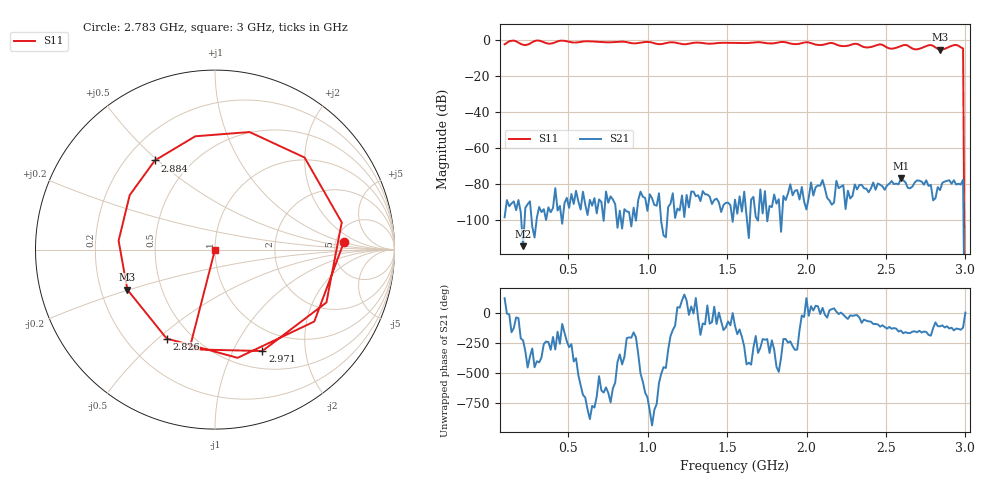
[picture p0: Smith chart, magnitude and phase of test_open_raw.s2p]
! NanoVNA V2 raw (uncalibrated) {"variant": 2, "protocol": 1, "hw_rev": 4, "fw": "1.2"} fw 1.2 2026-11-03 12:33 avg=2 repeat=1 port1 as-is, driver test
# Hz S RI R 50
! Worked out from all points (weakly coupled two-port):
!   201 points, 100 MHz to 3 GHz, reference 50 ohm
!   highest |S21| = -77.09 dB at 2.594 GHz (marker M1); lowest = -114.8 dB at 216 MHz (marker M2)
!   lowest |S11| = -5.4 dB at 2.841 GHz (marker M3), VSWR 3.32, Z = 15.7 - j9.89 ohm
!   |S11| at or under -10 dB: 2.985884 GHz to end of sweep
!   S12 and S22 are empty: the file has one direction only
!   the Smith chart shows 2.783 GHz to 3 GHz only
!   S11 on the Smith chart (normalised r, x): 2.783 GHz: 5.94, +0.97; 2.826 GHz: 0.37, -0.53; 2.884 GHz: 0.32, +0.49; 2.971 GHz: 0.71, -1.31; 3 GHz: 1.00, +0.00
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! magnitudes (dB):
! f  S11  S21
! 100 MHz  -2.5  -98.8
! 158 MHz  -0.4  -89.9
! 216 MHz  -2.7  -114.8
! 303 MHz  -0.3  -98.9
! 593 MHz  -0.9  -84.5
! 1.071 GHz  -2.4  -85.4
! 1.55 GHz  -1.7  -88.9
! 2.043 GHz  -2.3  -86.6
! 2.101 GHz  -2.8  -78.0
! 2.463 GHz  -2.5  -80.6
! 2.522 GHz  -4.8  -80.0
! 2.579 GHz  -3.9  -80.4
! 2.594 GHz  -3.4  -77.1
! 2.638 GHz  -3.2  -82.3
! 2.696 GHz  -5.2  -78.2
! 2.783 GHz  -2.9  -80.7
! 2.826 GHz  -5.0  -82.0
! 2.841 GHz  -5.4  -83.6
! 2.884 GHz  -4.5  -78.5
! 2.971 GHz  -4.1  -80.5
! 2.986 GHz  -4.8  -77.8
! 3 GHz  -  -
